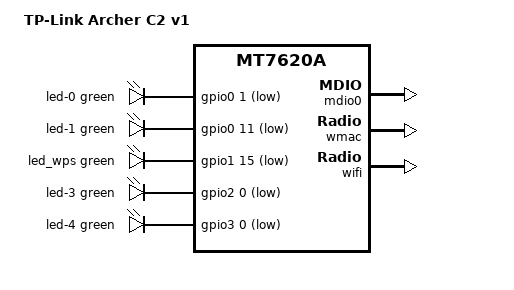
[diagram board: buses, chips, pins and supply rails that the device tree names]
// SPDX-License-Identifier: GPL-2.0-or-later OR MIT

#include <dt-bindings/leds/common.h>

#include "mt7620a_tplink_8m.dtsi"

/ {
	compatible = "tplink,archer-c2-v1", "ralink,mt7620a-soc";
	model = "TP-Link Archer C2 v1";

	aliases {
		led-boot = &led_wps;
		led-failsafe = &led_wps;
		led-running = &led_wps;
		led-upgrade = &led_wps;
	};


	leds {
		compatible = "gpio-leds";

		led-0 {
			function = LED_FUNCTION_LAN;
			color = <LED_COLOR_ID_GREEN>;
			gpios = <&gpio0 1 GPIO_ACTIVE_LOW>;
		};

		led-1 {
			function = LED_FUNCTION_USB;
			color = <LED_COLOR_ID_GREEN>;
			gpios = <&gpio0 11 GPIO_ACTIVE_LOW>;
			trigger-sources = <&ohci_port1>, <&ehci_port1>;
			linux,default-trigger = "usbport";
		};

		led_wps: led-2 {
			function = LED_FUNCTION_WPS;
			color = <LED_COLOR_ID_GREEN>;
			gpios = <&gpio1 15 GPIO_ACTIVE_LOW>;
		};

		led-3 {
			function = LED_FUNCTION_WAN;
			color = <LED_COLOR_ID_GREEN>;
			gpios = <&gpio2 0 GPIO_ACTIVE_LOW>;
		};

		led-4 {
			function = LED_FUNCTION_WLAN;
			color = <LED_COLOR_ID_GREEN>;
			gpios = <&gpio3 0 GPIO_ACTIVE_LOW>;
			linux,default-trigger = "phy1tpt";
		};
	};

	rtl8367rb {
		compatible = "realtek,rtl8367b";
		realtek,extif = <6 1 0 1 1 1 1 1 1 2>;
		mii-bus = <&mdio0>;
	};
};

&state_default {
	gpio {
		groups = "i2c", "uartf", "wled", "ephy", "spi refclk";
		function = "gpio";
	};
};

&ethernet {
	pinctrl-names = "default";
	pinctrl-0 = <&rgmii1_pins &rgmii2_pins &mdio_pins>;

	port@5 {
		status = "okay";
		mediatek,fixed-link = <1000 1 1 1>;
		phy-mode = "rgmii";
	};

	mdio0: mdio-bus {
		status = "okay";
	};
};


&wmac {
	nvmem-cells = <&eeprom_radio_0>, <&macaddr_rom_f100 0>;
	nvmem-cell-names = "eeprom", "mac-address";
};

&wifi {
	nvmem-cells = <&eeprom_radio_8000>, <&macaddr_rom_f100 (-1)>;
	nvmem-cell-names = "eeprom", "mac-address";
};
